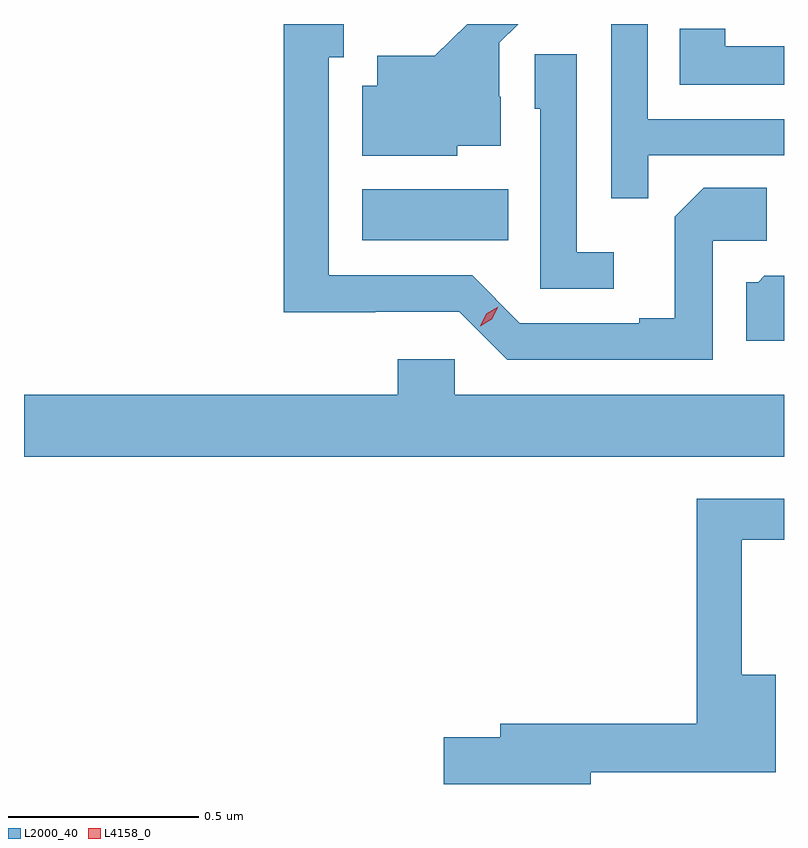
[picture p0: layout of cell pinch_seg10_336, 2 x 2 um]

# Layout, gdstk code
import gdstk
lib = gdstk.Library(unit=1e-6, precision=1e-09)
def R(c, l, rs):  # rectangles x0, y0, x1, y1
    for r in rs: c.add(gdstk.rectangle(r[:2], r[2:], *l))
def P(c, l, *ps):  # polygons
    for p in ps: c.add(gdstk.Polygon(p, *l))
L2000_40 = (2000, 40)
L4158_0 = (4158, 0)

pinch_seg10_336 = lib.new_cell('pinch_seg10_336')
R(pinch_seg10_336, L2000_40, [(418.202,1283.57,418.586,1283.704)])
P(pinch_seg10_336, L2000_40, [(419.124,1283.568),(419.266,1283.568),(419.266,1283.708),(419.101,1283.708),(419.025,1283.632),(419.025,1283.365),(418.931,1283.365),(418.931,1283.352),(418.617,1283.352),(418.491,1283.478),(418.114,1283.478),(418.114,1284.051),(418.153,1284.051),(418.153,1284.139),(417.996,1284.139),(417.996,1283.381),(418.236,1283.381),(418.236,1283.382),(418.458,1283.382),(418.584,1283.256),(419.124,1283.256)],
  [(418.452,1283.819),(418.567,1283.819),(418.567,1283.948),(418.563,1283.948),(418.563,1284.09),(418.612,1284.139),(418.478,1284.139),(418.393,1284.055),(418.241,1284.055),(418.241,1283.977),(418.202,1283.977),(418.202,1283.792),(418.452,1283.792)],
  [(418.955,1283.793),(419.312,1283.793),(419.312,1283.889),(418.953,1283.889),(418.953,1284.139),(418.857,1284.139),(418.857,1283.68),(418.955,1283.68)],
  [(419.312,1284.08),(419.157,1284.08),(419.157,1284.127),(419.038,1284.127),(419.038,1283.979),(419.312,1283.979)],
  [(418.864,1283.539),(418.767,1283.539),(418.767,1284.059),(418.656,1284.059),(418.656,1283.916),(418.671,1283.916),(418.671,1283.442),(418.864,1283.442)],
  [(419.312,1283.476),(419.26,1283.476),(419.244,1283.46),(419.213,1283.46),(419.213,1283.306),(419.312,1283.306)],
  [(419.312,1283.164),(418.446,1283.164),(418.446,1283.257),(418.295,1283.257),(418.295,1283.164),(417.312,1283.164),(417.312,1283),(419.312,1283)],
  [(418.804,1282.17),(419.29,1282.17),(419.29,1282.426),(419.201,1282.426),(419.201,1282.782),(419.312,1282.782),(419.312,1282.89),(419.083,1282.89),(419.083,1282.298),(418.565,1282.298),(418.565,1282.262),(418.416,1282.262),(418.416,1282.139),(418.804,1282.139)])
P(pinch_seg10_336, L4158_0, [(418.512,1283.343),(418.512,1283.343),(418.528,1283.376),(418.56,1283.395),(418.56,1283.395),(418.56,1283.395),(418.543,1283.362),(418.512,1283.343)])

lib.write_gds('pinch_seg10_336.gds')
